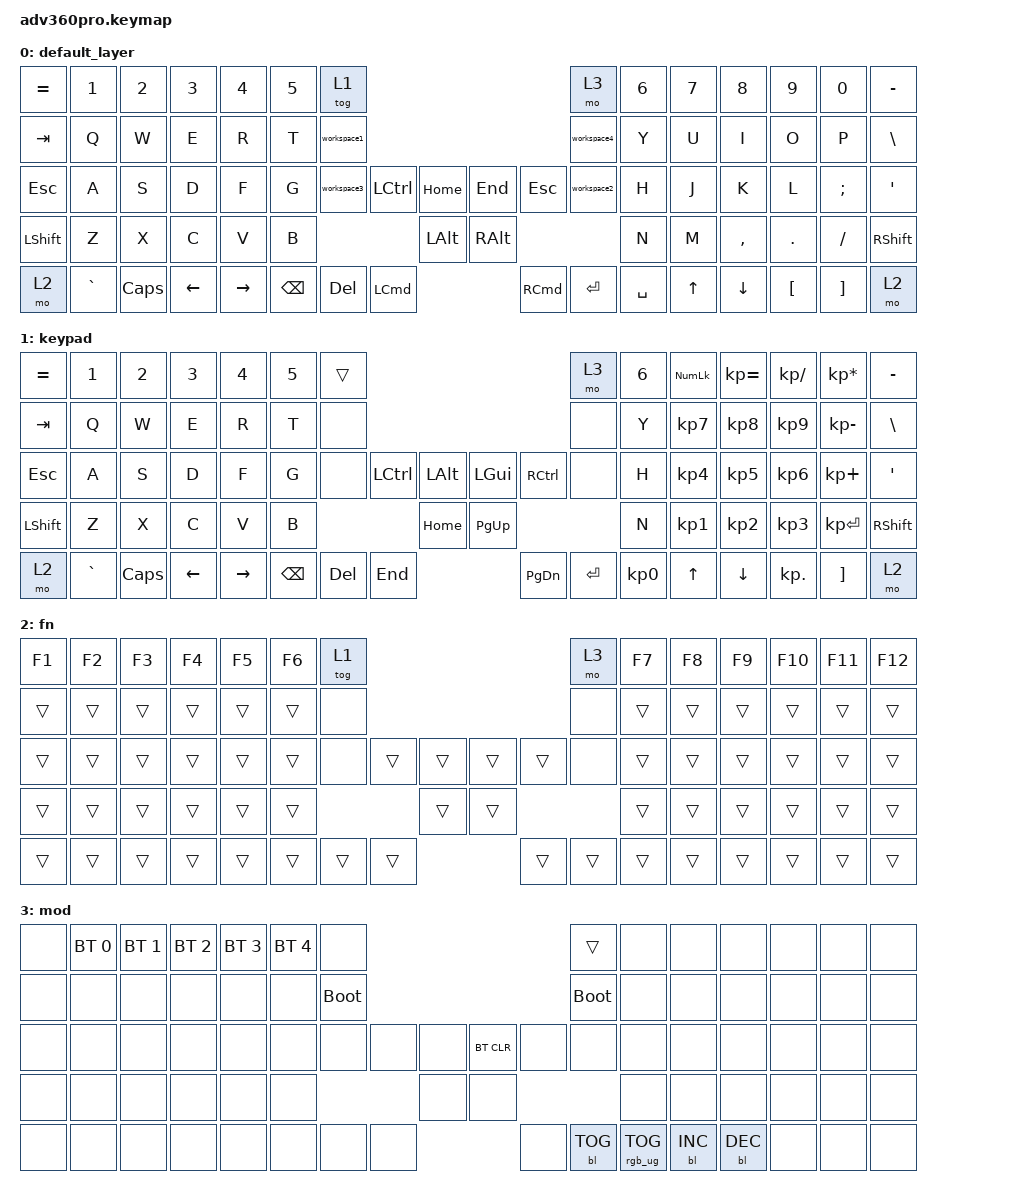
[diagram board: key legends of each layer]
#include <behaviors.dtsi>
#include <dt-bindings/zmk/backlight.h>
#include <dt-bindings/zmk/bt.h>
#include <dt-bindings/zmk/keys.h>
#include <dt-bindings/zmk/rgb.h>

/ {
    macros {
        workspace1: workspace1 {
            compatible = "zmk,behavior-macro";
            #binding-cells = <0>;
            bindings =
                <&macro_press>,
                <&kp LEFT_COMMAND>,
                <&macro_press>,
                <&kp LEFT_ALT>,
                <&macro_press>,
                <&kp NUMBER_1>,
                <&macro_release>,
                <&kp LCMD>,
                <&macro_release>,
                <&kp LEFT_ALT>,
                <&macro_release>,
                <&kp NUMBER_1>;

            label = "WORKSPACE1";
        };

        workspace2: workspace4 {
            compatible = "zmk,behavior-macro";
            #binding-cells = <0>;
            bindings =
                <&macro_press>,
                <&kp LEFT_COMMAND>,
                <&macro_press>,
                <&kp LEFT_ALT>,
                <&macro_press>,
                <&kp NUMBER_2>,
                <&macro_release>,
                <&kp LCMD>,
                <&macro_release>,
                <&kp LEFT_ALT>,
                <&macro_release>,
                <&kp NUMBER_2>;

            label = "WORKSPACE4";
        };

        workspace3: workspace2 {
            compatible = "zmk,behavior-macro";
            #binding-cells = <0>;
            bindings =
                <&macro_press>,
                <&kp LEFT_COMMAND>,
                <&macro_press>,
                <&kp LEFT_ALT>,
                <&macro_press>,
                <&kp NUMBER_3>,
                <&macro_release>,
                <&kp LCMD>,
                <&macro_release>,
                <&kp LEFT_ALT>,
                <&macro_release>,
                <&kp NUMBER_3>;

            label = "WORKSPACE2";
        };

        workspace4: workspace3 {
            compatible = "zmk,behavior-macro";
            #binding-cells = <0>;
            bindings =
                <&macro_press>,
                <&kp LEFT_COMMAND>,
                <&macro_press>,
                <&kp LEFT_ALT>,
                <&macro_press>,
                <&kp NUMBER_4>,
                <&macro_release>,
                <&kp LCMD>,
                <&macro_release>,
                <&kp LEFT_ALT>,
                <&macro_release>,
                <&kp NUMBER_4>;

            label = "WORKSPACE3";
        };
    };

    keymap {
        compatible = "zmk,keymap";

        default_layer {
            bindings = <
&kp EQUAL  &kp N1     &kp N2    &kp N3    &kp N4     &kp N5  &tog 1                                                                                         &mo 3        &kp N6  &kp N7  &kp N8     &kp N9    &kp N0    &kp MINUS
&kp TAB    &kp Q      &kp W     &kp E     &kp R      &kp T   &workspace1                                                                                    &workspace4  &kp Y   &kp U   &kp I      &kp O     &kp P     &kp BSLH
&kp ESC    &kp A      &kp S     &kp D     &kp F      &kp G   &workspace3            &kp LCTRL  &kp HOME            &kp END            &kp ESC               &workspace2  &kp H   &kp J   &kp K      &kp L     &kp SEMI  &kp SQT
&kp LSHFT  &kp Z      &kp X     &kp C     &kp V      &kp B                                     &kp LEFT_ALT        &kp RIGHT_ALT                                         &kp N   &kp M   &kp COMMA  &kp DOT   &kp FSLH  &kp RSHFT
&mo 2      &kp GRAVE  &kp CAPS  &kp LEFT  &kp RIGHT                       &kp BSPC  &kp DEL    &kp LEFT_COMMAND    &kp RIGHT_COMMAND  &kp ENTER  &kp SPACE                       &kp UP  &kp DOWN   &kp LBKT  &kp RBKT  &mo 2
            >;
        };

        keypad {
            bindings = <
&kp EQUAL  &kp N1     &kp N2    &kp N3    &kp N4     &kp N5  &trans                                                                    &mo 3  &kp N6  &kp KP_NUM  &kp KP_EQUAL  &kp KP_DIVIDE  &kp KP_MULTIPLY  &kp MINUS
&kp TAB    &kp Q      &kp W     &kp E     &kp R      &kp T   &none                                                                     &none  &kp Y   &kp KP_N7   &kp KP_N8     &kp KP_N9      &kp KP_MINUS     &kp BSLH
&kp ESC    &kp A      &kp S     &kp D     &kp F      &kp G   &none             &kp LCTRL  &kp LALT    &kp LGUI   &kp RCTRL             &none  &kp H   &kp KP_N4   &kp KP_N5     &kp KP_N6      &kp KP_PLUS      &kp SQT
&kp LSHFT  &kp Z      &kp X     &kp C     &kp V      &kp B                                &kp HOME    &kp PG_UP                               &kp N   &kp KP_N1   &kp KP_N2     &kp KP_N3      &kp KP_ENTER     &kp RSHFT
&mo 2      &kp GRAVE  &kp CAPS  &kp LEFT  &kp RIGHT                  &kp BSPC  &kp DEL    &kp END     &kp PG_DN  &kp ENTER  &kp KP_N0                 &kp UP      &kp DOWN      &kp KP_DOT     &kp RBKT         &mo 2
            >;
        };

        fn {
            bindings = <
&kp F1  &kp F2  &kp F3  &kp F4  &kp F5  &kp F6  &tog 1                                                    &mo 3  &kp F7  &kp F8  &kp F9  &kp F10  &kp F11  &kp F12
&trans  &trans  &trans  &trans  &trans  &trans  &none                                                     &none  &trans  &trans  &trans  &trans   &trans   &trans
&trans  &trans  &trans  &trans  &trans  &trans  &none           &trans  &trans    &trans  &trans          &none  &trans  &trans  &trans  &trans   &trans   &trans
&trans  &trans  &trans  &trans  &trans  &trans                          &trans    &trans                         &trans  &trans  &trans  &trans   &trans   &trans
&trans  &trans  &trans  &trans  &trans                  &trans  &trans  &trans    &trans  &trans  &trans                 &trans  &trans  &trans   &trans   &trans
            >;
        };

        mod {
            bindings = <
&none  &bt BT_SEL 0  &bt BT_SEL 1  &bt BT_SEL 2  &bt BT_SEL 3  &bt BT_SEL 4  &none                                                                        &trans       &none  &none       &none       &none  &none  &none
&none  &none         &none         &none         &none         &none         &bootloader                                                                  &bootloader  &none  &none       &none       &none  &none  &none
&none  &none         &none         &none         &none         &none         &none               &none  &none    &bt BT_CLR  &none                        &none        &none  &none       &none       &none  &none  &none
&none  &none         &none         &none         &none         &none                                    &none    &none                                                 &none  &none       &none       &none  &none  &none
&none  &none         &none         &none         &none                                    &none  &none  &none    &none       &bl BL_TOG  &rgb_ug RGB_TOG                      &bl BL_INC  &bl BL_DEC  &none  &none  &none
            >;
        };
    };
};
